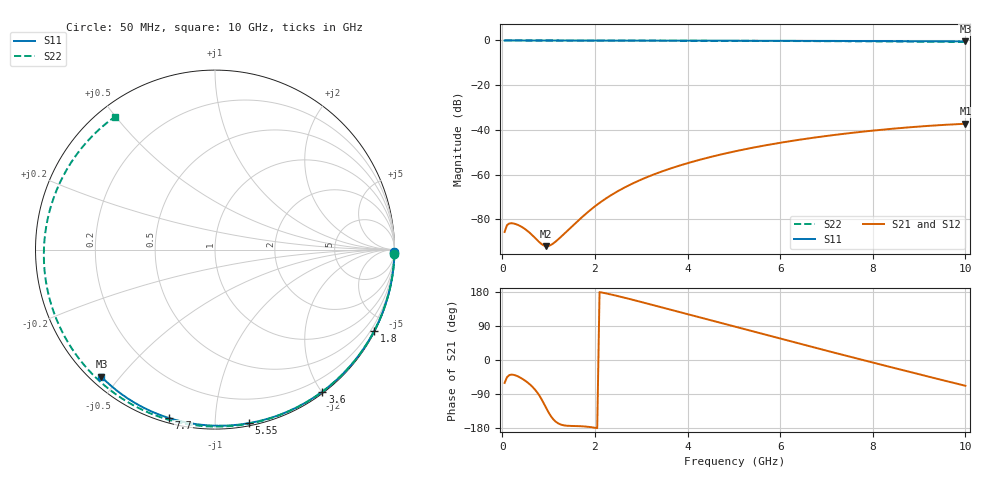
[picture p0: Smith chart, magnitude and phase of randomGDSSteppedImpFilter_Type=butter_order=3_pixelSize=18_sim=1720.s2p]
! freq	dB(S11)	phase(S11)	dB(S12)	phase(S12)
!  dB(S21)	phase(S21)	dB(S22)	phase(S22)
!S-par simulation data
#  GHz  S  DB  R 50
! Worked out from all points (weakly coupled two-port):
!   200 points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, 50 MHz to 10 GHz, reference 50 ohm
!   highest |S21| = -37.26 dB at 10 GHz (marker M1); lowest = -92.0 dB at 950 MHz (marker M2)
!   lowest |S11| = -0.4 dB at 10 GHz (marker M3), VSWR 39.02, Z = 1.54 - j22.4 ohm
!   |S11| at or under -10 dB: nowhere
!   |S22| runs from -0.7 to 0.0 dB; largest |S21 - S12| = 0
!   S11 on the Smith chart (normalised r, x): 50 MHz: open; 1.8 GHz: 0.04, -4.16; 3.6 GHz: 0.02, -2.01; 5.55 GHz: 0.02, -1.21; 7.7 GHz: 0.02, -0.76; 10 GHz: 0.03, -0.45
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0.05  -0.00 -0.8  -85.65 -60.4  -85.65 -60.4  -0.00 -1.3
0.5  -0.01 -7.6  -84.48 -55.2  -84.48 -55.2  -0.01 -12.5
0.95  -0.02 -14.4  -92.00 -127.1  -92.00 -127.1  -0.03 -23.6
1.65  -0.03 -24.8  -80.38 -174.5  -80.38 -174.5  -0.05 -40.5
1.75  -0.03 -26.3  -78.50 -175.1  -78.50 -175.1  -0.05 -42.9
1.8  -0.03 -27.1  -77.59 -175.6  -77.59 -175.6  -0.06 -44.1
2.15  -0.04 -32.2  -71.91 178.0  -71.91 178.0  -0.07 -52.3
2.5  -0.05 -37.3  -67.34 168.6  -67.34 168.6  -0.08 -60.5
2.9  -0.06 -43.0  -63.14 156.3  -63.14 156.3  -0.09 -69.6
3.4  -0.07 -50.1  -58.93 140.2  -58.93 140.2  -0.11 -80.8
3.6  -0.07 -52.9  -57.48 133.8  -57.48 133.8  -0.11 -85.2
4.3  -0.09 -62.5  -53.16 111.1  -53.16 111.1  -0.14 -100.4
5.05  -0.11 -72.5  -49.47 86.9  -49.47 86.9  -0.18 -116.2
5.55  -0.13 -79.0  -47.40 70.9  -47.40 70.9  -0.21 -126.7
6.7  -0.18 -93.4  -43.55 34.1  -43.55 34.1  -0.29 -150.8
7.2  -0.21 -99.4  -42.19 18.3  -42.19 18.3  -0.33 -161.7
7.7  -0.24 -105.4  -40.98 2.7  -40.98 2.7  -0.38 -172.8
8.35  -0.29 -113.0  -39.62 -17.6  -39.62 -17.6  -0.45 171.9
8.8  -0.33 -118.2  -38.82 -31.5  -38.82 -31.5  -0.51 160.7
9.2  -0.36 -122.7  -38.21 -43.8  -38.21 -43.8  -0.56 150.1
9.6  -0.40 -127.3  -37.68 -56.0  -37.68 -56.0  -0.61 138.9
10  -0.45 -131.8  -37.26 -68.0  -37.26 -68.0  -0.66 126.9
